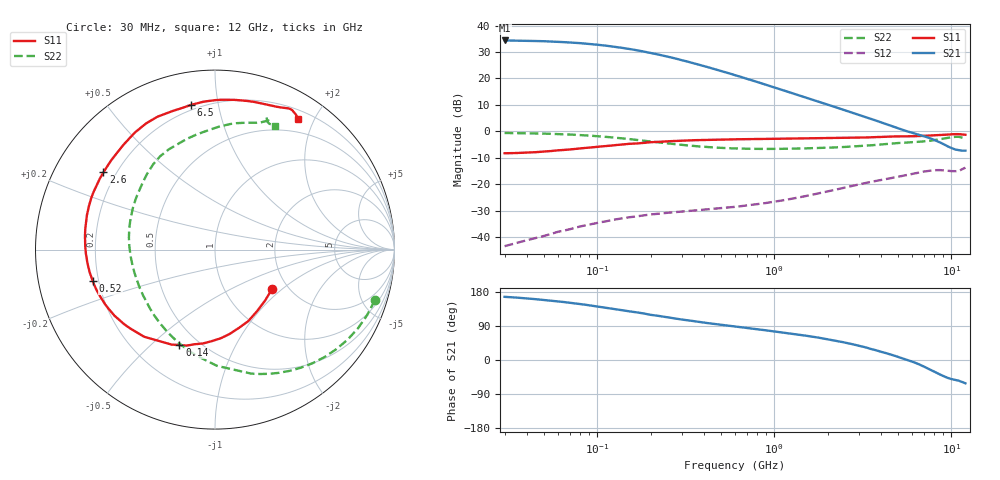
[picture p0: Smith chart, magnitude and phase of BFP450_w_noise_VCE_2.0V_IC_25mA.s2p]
! Infineon Technologies  Discrete & RF Semiconductors
! BFP450
! VCE =  2.0 V,  IC =  25 mA
! Common Emitter S-Parameters:  Nov 2015
# GHz  S  MA  R  50
!  f  S11  S21  S12  S22
! GHz  MAG  ANG  MAG  ANG  MAG  ANG  MAG  ANG
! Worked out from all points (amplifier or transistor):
!   239 points, 30 MHz to 12 GHz, reference 50 ohm
!   highest |S21| = 34.4 dB at 30 MHz (marker M1)
!   |S21| within 3 dB of that: start of sweep to 144.9 MHz
!   unconditionally stable (mu >= 1): 1.512 GHz to end of sweep
!   at 300 MHz: K = 0.35, MSG = 28.6 dB, |S12| = -30.2 dB
!   at 1.88 GHz: K = 1.06, MAG = 15.3 dB, |S12| = -23.0 dB
!   at 12 GHz: K = 1.10, MAG = 1.3 dB, |S12| = -13.7 dB
!   lowest NFmin = 1.19 dB at 450 MHz
!   S11 on the Smith chart (normalised r, x): 30 MHz: 1.65, -0.86; 140 MHz: 0.39, -0.62; 520 MHz: 0.18, -0.12; 2.6 GHz: 0.15, +0.31; 6.5 GHz: 0.17, +0.83; 12 GHz: 0.31, +1.78
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0.03  0.3866 -35.1  52.23 166.7  0.0068 79.5  0.9343 -17.6
0.04  0.3982 -45.6  51.44 162.6  0.0088 76.7  0.9229 -23.3
0.05  0.416 -55.9  50.54 158.4  0.0106 73.4  0.9092 -28.9
0.06  0.4395 -65.1  49.26 154.8  0.0127 69.9  0.8925 -34.4
0.07  0.4562 -73.0  47.85 150.9  0.0142 67.6  0.8734 -39.6
0.085  0.4856 -83.4  45.67 146.1  0.0167 63.3  0.8435 -47.0
0.11  0.5269 -97.2  41.95 138.5  0.0198 57.5  0.7936 -58.3
0.14  0.5676 -110.5  37.64 130.9  0.0229 51.9  0.7371 -70.1
0.15  0.5816 -114.5  36.31 128.6  0.0238 50.5  0.7199 -73.7
0.195  0.6195 -127.7  30.87 120.3  0.0267 45.4  0.652 -87.5
0.24  0.6453 -137.1  26.65 113.9  0.0287 42.1  0.6029 -98.9
0.3  0.6703 -146.7  22.17 106.8  0.0308 39.3  0.5575 -111.5
0.36  0.6836 -153.5  18.91 101.8  0.0323 37.9  0.5269 -121.1
0.45  0.6972 -161.1  15.33 95.5  0.0345 37.1  0.4989 -132.7
0.52  0.7032 -165.5  13.37 92.0  0.0359 37.3  0.4856 -139.4
0.6  0.7098 -169.8  11.53 88.2  0.0376 37.7  0.4767 -146.2
1  0.7255 176.3  6.752 75.5  0.0469 40.7  0.4675 -167.4
1.64  0.7416 162.1  3.976 61.7  0.0639 41.7  0.4823 173.5
2.6  0.756 145.3  2.403 44.3  0.0894 36.6  0.5125 153.3
4.5  0.8011 118.6  1.288 14.8  0.13 19.8  0.5871 125.9
6.5  0.817 99.5  0.874 -10.6  0.1661 1.9  0.637 104.0
12  0.8642 57.6  0.433 -61.5  0.2063 -40.8  0.7663 64.3
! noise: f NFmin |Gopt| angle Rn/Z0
0.45  1.19  0.39  -177  0.07
0.9  1.26  0.44  -174  0.06
1.9  1.38  0.51  -159  0.08
2.4  1.51  0.54  -149  0.1
